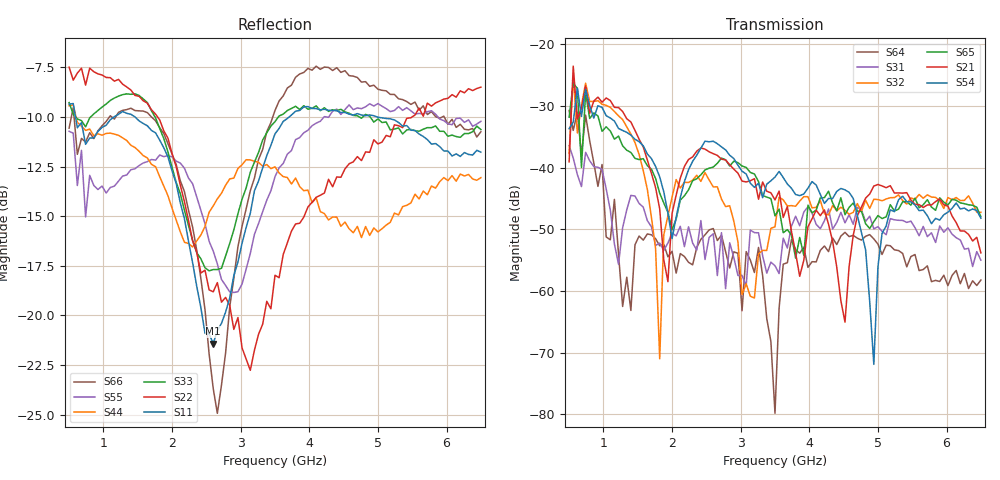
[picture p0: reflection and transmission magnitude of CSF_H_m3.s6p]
!Keysight Technologies,M9804A,MY58100912,A.14.10.03
!Date: Thursday, April 27, 2023 10:28:33
!Correction: S11(C  6-Port  )
!S12(C  6-Port  )
!S13(C  6-Port  )
!S14(C  6-Port  )
!S15(C  6-Port  )
!S16(C  6-Port  )
!S21(C  6-Port  )
!S22(C  6-Port  )
!S23(C  6-Port  )
!S24(C  6-Port  )
!S25(C  6-Port  )
!S26(C  6-Port  )
!S31(C  6-Port  )
!S32(C  6-Port  )
!S33(C  6-Port  )
!S34(C  6-Port  )
!S35(C  6-Port  )
!S36(C  6-Port  )
!S41(C  6-Port  )
!S42(C  6-Port  )
!S43(C  6-Port  )
!S44(C  6-Port  )
!S45(C  6-Port  )
!S46(C  6-Port  )
!S51(C  6-Port  )
!S52(C  6-Port  )
!S53(C  6-Port  )
!S54(C  6-Port  )
!S55(C  6-Port  )
!S56(C  6-Port  )
!S61(C  6-Port  )
!S62(C  6-Port  )
!S63(C  6-Port  )
!S64(C  6-Port  )
!S65(C  6-Port  )
!S66(C  6-Port  )
!S6P File: Measurement: :
# Hz S  RI  R 50
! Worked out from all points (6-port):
!   101 points, 500 MHz to 6.5 GHz, reference 50 ohm
!   strongest paths, dB at 500 MHz, 2 GHz, 3.5 GHz, 5 GHz, 6.5 GHz:
!     S54: -33.7, -51.5, -41.5, -56.1, -48.2
!     S21: -39.1, -47.4, -45.2, -42.7, -53.8
!     S65: -31.8, -50.1, -47.8, -47.8, -48.0
!     S32: -37.7, -44.8, -49.6, -45.2, -47.3
!     S31: -36.4, -50.6, -55.9, -49.6, -55.0
!     S64: -30.8, -53.6, -79.9, -52.4, -58.2
!   lowest |S11| = -21.4 dB at 2.6 GHz (marker M1), VSWR 1.19, Z = 42.5 + j2.28 ohm
!   |S11| at or under -10 dB: 593.1 MHz to 1.155 GHz (561.5 MHz wide, 64.3 % of centre); 1.459 GHz to 3.707 GHz (2.248 GHz wide, 87 % of centre); 4.987 GHz to end of sweep
